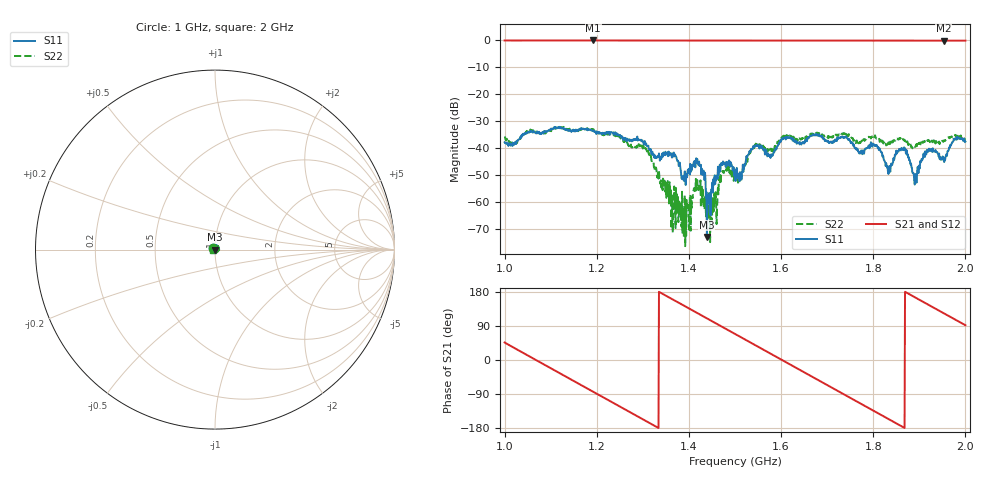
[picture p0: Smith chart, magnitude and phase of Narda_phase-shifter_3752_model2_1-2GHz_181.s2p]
#  HZ  S  DB  R  50.00
! Rohde & Schwarz Vector Network Analyzer
! Rohde-Schwarz,ZNB8-4Port,1311601044102961,2.82
! Created: UTC 1/17/2019, 2:33:17 PM
! freq[Hz]  db:S11  ang:S11  db:S21  ang:S21  db:S12  ang:S12  db:S22  ang:S22
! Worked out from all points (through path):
!   1001 points, 1 GHz to 2 GHz, reference 50 ohm
!   highest |S21| = -0.07 dB at 1.192 GHz (marker M1); lowest = -0.2 dB at 1.953 GHz (marker M2)
!   group delay of S21, straight-line fit = 1.87 ns
!   lowest |S11| = -72.9 dB at 1.439 GHz (marker M3), VSWR 1.00, Z = 50 - j0.0194 ohm
!   |S11| at or under -10 dB: start of sweep to end of sweep
!   |S22| runs from -76.3 to -32.1 dB; largest |S21 - S12| = 0.011
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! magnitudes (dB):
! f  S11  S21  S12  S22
! 1 GHz  -37.8  -0.1  -0.1  -36.1
! 1.167 GHz  -33.0  -0.1  -0.1  -33.1
! 1.192 GHz  -33.5  -0.1  -0.1  -33.3
! 1.306 GHz  -38.6  -0.1  -0.1  -40.3
! 1.334 GHz  -43.2  -0.1  -0.1  -51.3
! 1.37 GHz  -42.4  -0.1  -0.1  -56.4
! 1.389 GHz  -52.1  -0.1  -0.1  -72.8
! 1.42 GHz  -45.6  -0.1  -0.1  -54.2
! 1.439 GHz  -72.9  -0.1  -0.1  -58.1
! 1.449 GHz  -55.2  -0.1  -0.1  -65.4
! 1.474 GHz  -44.9  -0.1  -0.1  -48.4
! 1.5 GHz  -48.0  -0.1  -0.1  -49.3
! 1.544 GHz  -39.0  -0.1  -0.1  -39.1
! 1.578 GHz  -42.3  -0.1  -0.1  -40.2
! 1.667 GHz  -35.5  -0.1  -0.1  -34.8
! 1.804 GHz  -39.2  -0.1  -0.1  -35.2
! 1.834 GHz  -48.7  -0.1  -0.1  -38.8
! 1.862 GHz  -39.9  -0.1  -0.2  -36.4
! 1.89 GHz  -53.5  -0.1  -0.2  -39.5
! 1.918 GHz  -41.0  -0.1  -0.2  -37.0
! 1.953 GHz  -43.5  -0.2  -0.2  -37.1
! 2 GHz  -37.6  -0.1  -0.2  -37.1
